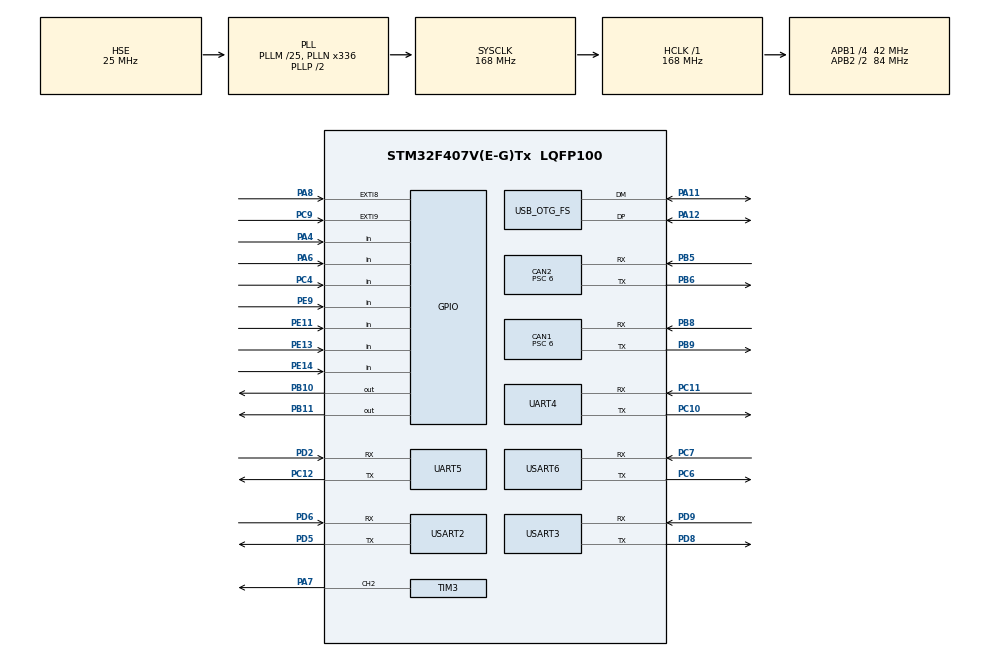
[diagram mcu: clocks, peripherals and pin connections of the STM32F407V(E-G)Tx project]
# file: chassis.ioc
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CAN1.BS1=CAN_BS1_3TQ
CAN1.BS2=CAN_BS2_3TQ
CAN1.CalculateBaudRate=1000000
CAN1.CalculateTimeBit=1000
CAN1.CalculateTimeQuantum=142.85714285714286
CAN1.Prescaler=6
CAN2.BS1=CAN_BS1_3TQ
CAN2.BS2=CAN_BS2_3TQ
CAN2.CalculateBaudRate=1000000
CAN2.CalculateTimeBit=1000
CAN2.CalculateTimeQuantum=142.85714285714286
CAN2.Mode=CAN_MODE_NORMAL
CAN2.Prescaler=6
Dma.Request0=UART4_RX
Dma.Request1=UART4_TX
Dma.Request2=USART3_RX
Dma.Request3=USART3_TX
Dma.Request4=USART2_TX
Dma.Request5=USART2_RX
Dma.Request6=USART6_RX
Dma.Request7=USART6_TX
Dma.Request8=UART5_RX
Dma.Request9=UART5_TX
Dma.UART4_RX.0.Direction=DMA_PERIPH_TO_MEMORY
Dma.UART4_RX.0.FIFOMode=DMA_FIFOMODE_DISABLE
Dma.UART4_RX.0.Instance=DMA1_Stream2
Dma.UART4_RX.0.MemDataAlignment=DMA_MDATAALIGN_BYTE
Dma.UART4_RX.0.MemInc=DMA_MINC_ENABLE
Dma.UART4_RX.0.Mode=DMA_NORMAL
Dma.UART4_RX.0.PeriphDataAlignment=DMA_PDATAALIGN_BYTE
Dma.UART4_RX.0.PeriphInc=DMA_PINC_DISABLE
Dma.UART4_RX.0.Priority=DMA_PRIORITY_LOW
Dma.UART4_TX.1.Direction=DMA_MEMORY_TO_PERIPH
Dma.UART4_TX.1.FIFOMode=DMA_FIFOMODE_DISABLE
Dma.UART4_TX.1.Instance=DMA1_Stream4
Dma.UART4_TX.1.MemDataAlignment=DMA_MDATAALIGN_BYTE
Dma.UART4_TX.1.MemInc=DMA_MINC_ENABLE
Dma.UART4_TX.1.Mode=DMA_NORMAL
Dma.UART4_TX.1.PeriphDataAlignment=DMA_PDATAALIGN_BYTE
Dma.UART4_TX.1.PeriphInc=DMA_PINC_DISABLE
Dma.UART4_TX.1.Priority=DMA_PRIORITY_LOW
Dma.UART5_RX.8.Direction=DMA_PERIPH_TO_MEMORY
Dma.UART5_RX.8.FIFOMode=DMA_FIFOMODE_DISABLE
Dma.UART5_RX.8.Instance=DMA1_Stream0
Dma.UART5_RX.8.MemDataAlignment=DMA_MDATAALIGN_BYTE
Dma.UART5_RX.8.MemInc=DMA_MINC_ENABLE
Dma.UART5_RX.8.Mode=DMA_NORMAL
Dma.UART5_RX.8.PeriphDataAlignment=DMA_PDATAALIGN_BYTE
Dma.UART5_RX.8.PeriphInc=DMA_PINC_DISABLE
Dma.UART5_RX.8.Priority=DMA_PRIORITY_LOW
Dma.UART5_TX.9.Direction=DMA_MEMORY_TO_PERIPH
Dma.UART5_TX.9.FIFOMode=DMA_FIFOMODE_DISABLE
Dma.UART5_TX.9.Instance=DMA1_Stream7
Dma.UART5_TX.9.MemDataAlignment=DMA_MDATAALIGN_BYTE
Dma.UART5_TX.9.MemInc=DMA_MINC_ENABLE
Dma.UART5_TX.9.Mode=DMA_NORMAL
Dma.UART5_TX.9.PeriphDataAlignment=DMA_PDATAALIGN_BYTE
Dma.UART5_TX.9.PeriphInc=DMA_PINC_DISABLE
Dma.UART5_TX.9.Priority=DMA_PRIORITY_LOW
Dma.USART2_RX.5.Direction=DMA_PERIPH_TO_MEMORY
Dma.USART2_RX.5.FIFOMode=DMA_FIFOMODE_DISABLE
Dma.USART2_RX.5.Instance=DMA1_Stream5
Dma.USART2_RX.5.MemDataAlignment=DMA_MDATAALIGN_BYTE
Dma.USART2_RX.5.MemInc=DMA_MINC_ENABLE
Dma.USART2_RX.5.Mode=DMA_NORMAL
Dma.USART2_RX.5.PeriphDataAlignment=DMA_PDATAALIGN_BYTE
Dma.USART2_RX.5.PeriphInc=DMA_PINC_DISABLE
Dma.USART2_RX.5.Priority=DMA_PRIORITY_LOW
Dma.USART2_TX.4.Direction=DMA_MEMORY_TO_PERIPH
Dma.USART2_TX.4.FIFOMode=DMA_FIFOMODE_DISABLE
Dma.USART2_TX.4.Instance=DMA1_Stream6
Dma.USART2_TX.4.MemDataAlignment=DMA_MDATAALIGN_BYTE
Dma.USART2_TX.4.MemInc=DMA_MINC_ENABLE
Dma.USART2_TX.4.Mode=DMA_NORMAL
Dma.USART2_TX.4.PeriphDataAlignment=DMA_PDATAALIGN_BYTE
Dma.USART2_TX.4.PeriphInc=DMA_PINC_DISABLE
Dma.USART2_TX.4.Priority=DMA_PRIORITY_LOW
Dma.USART3_RX.2.Direction=DMA_PERIPH_TO_MEMORY
Dma.USART3_RX.2.FIFOMode=DMA_FIFOMODE_DISABLE
Dma.USART3_RX.2.Instance=DMA1_Stream1
Dma.USART3_RX.2.MemDataAlignment=DMA_MDATAALIGN_BYTE
Dma.USART3_RX.2.MemInc=DMA_MINC_ENABLE
Dma.USART3_RX.2.Mode=DMA_NORMAL
Dma.USART3_RX.2.PeriphDataAlignment=DMA_PDATAALIGN_BYTE
Dma.USART3_RX.2.PeriphInc=DMA_PINC_DISABLE
Dma.USART3_RX.2.Priority=DMA_PRIORITY_LOW
Dma.USART3_TX.3.Direction=DMA_MEMORY_TO_PERIPH
Dma.USART3_TX.3.FIFOMode=DMA_FIFOMODE_DISABLE
Dma.USART3_TX.3.Instance=DMA1_Stream3
Dma.USART3_TX.3.MemDataAlignment=DMA_MDATAALIGN_BYTE
Dma.USART3_TX.3.MemInc=DMA_MINC_ENABLE
Dma.USART3_TX.3.Mode=DMA_NORMAL
Dma.USART3_TX.3.PeriphDataAlignment=DMA_PDATAALIGN_BYTE
Dma.USART3_TX.3.PeriphInc=DMA_PINC_DISABLE
Dma.USART3_TX.3.Priority=DMA_PRIORITY_LOW
Dma.USART6_RX.6.Direction=DMA_PERIPH_TO_MEMORY
Dma.USART6_RX.6.FIFOMode=DMA_FIFOMODE_DISABLE
Dma.USART6_RX.6.Instance=DMA2_Stream1
Dma.USART6_RX.6.MemDataAlignment=DMA_MDATAALIGN_BYTE
Dma.USART6_RX.6.MemInc=DMA_MINC_ENABLE
Dma.USART6_RX.6.Mode=DMA_NORMAL
Dma.USART6_RX.6.PeriphDataAlignment=DMA_PDATAALIGN_BYTE
Dma.USART6_RX.6.PeriphInc=DMA_PINC_DISABLE
Dma.USART6_RX.6.Priority=DMA_PRIORITY_LOW
Dma.USART6_TX.7.Direction=DMA_MEMORY_TO_PERIPH
Dma.USART6_TX.7.FIFOMode=DMA_FIFOMODE_DISABLE
Dma.USART6_TX.7.Instance=DMA2_Stream6
Dma.USART6_TX.7.MemDataAlignment=DMA_MDATAALIGN_BYTE
Dma.USART6_TX.7.MemInc=DMA_MINC_ENABLE
Dma.USART6_TX.7.Mode=DMA_NORMAL
Dma.USART6_TX.7.PeriphDataAlignment=DMA_PDATAALIGN_BYTE
Dma.USART6_TX.7.PeriphInc=DMA_PINC_DISABLE
Dma.USART6_TX.7.Priority=DMA_PRIORITY_LOW
FREERTOS.INCLUDE_uxTaskGetStackHighWaterMark=1
FREERTOS.INCLUDE_vTaskDelayUntil=1
FREERTOS.Tasks01=defaultTask,24,128,StartDefaultTask,Default,NULL,Dynamic,NULL,NULL
FREERTOS.configTOTAL_HEAP_SIZE=40960
FREERTOS.configUSE_TIMERS=1
Mcu.Family=STM32F4
Mcu.Name=STM32F407V(E-G)Tx
Mcu.Package=LQFP100
NVIC.CAN1_RX0_IRQn=true\:5\:0\:false\:false\:true\:true\:true\:true\:true
NVIC.CAN1_TX_IRQn=true\:5\:0\:false\:false\:true\:true\:true\:true\:true
NVIC.CAN2_RX1_IRQn=true\:5\:0\:false\:false\:true\:true\:true\:true\:true
NVIC.CAN2_TX_IRQn=true\:5\:0\:false\:false\:true\:true\:true\:true\:true
NVIC.DMA1_Stream0_IRQn=true\:5\:0\:false\:false\:true\:true\:false\:true\:true
NVIC.DMA1_Stream1_IRQn=true\:5\:0\:false\:false\:true\:true\:false\:true\:true
NVIC.DMA1_Stream2_IRQn=true\:5\:0\:false\:false\:true\:true\:false\:true\:true
NVIC.DMA1_Stream3_IRQn=true\:5\:0\:false\:false\:true\:true\:false\:true\:true
NVIC.DMA1_Stream4_IRQn=true\:5\:0\:false\:false\:true\:true\:false\:true\:true
NVIC.DMA1_Stream5_IRQn=true\:5\:0\:false\:false\:true\:true\:false\:true\:true
NVIC.DMA1_Stream6_IRQn=true\:5\:0\:false\:false\:true\:true\:false\:true\:true
NVIC.DMA1_Stream7_IRQn=true\:5\:0\:false\:false\:true\:true\:false\:true\:true
NVIC.DMA2_Stream1_IRQn=true\:5\:0\:false\:false\:true\:true\:false\:true\:true
NVIC.DMA2_Stream6_IRQn=true\:5\:0\:false\:false\:true\:true\:false\:true\:true
NVIC.EXTI9_5_IRQn=true\:5\:0\:false\:false\:true\:true\:true\:true\:true
NVIC.OTG_FS_IRQn=true\:5\:0\:false\:false\:true\:true\:false\:true\:true
NVIC.PriorityGroup=NVIC_PRIORITYGROUP_4
NVIC.TIM8_TRG_COM_TIM14_IRQn=true\:15\:0\:false\:false\:true\:false\:true\:true\:true
NVIC.TimeBase=TIM8_TRG_COM_TIM14_IRQn
NVIC.TimeBaseIP=TIM14
NVIC.UART4_IRQn=true\:5\:0\:false\:false\:true\:true\:true\:true\:true
NVIC.UART5_IRQn=true\:5\:0\:false\:false\:true\:true\:true\:true\:true
NVIC.USART2_IRQn=true\:5\:0\:false\:false\:true\:true\:true\:true\:true
NVIC.USART3_IRQn=true\:5\:0\:false\:false\:true\:true\:true\:true\:true
NVIC.USART6_IRQn=true\:5\:0\:false\:false\:true\:true\:true\:true\:true
PA11.Mode=Device_Only
PA11.Signal=USB_OTG_FS_DM
PA12.Mode=Device_Only
PA12.Signal=USB_OTG_FS_DP
PA13.Mode=Serial_Wire
PA13.Signal=SYS_JTMS-SWDIO
PA14.Mode=Serial_Wire
PA14.Signal=SYS_JTCK-SWCLK
PA4.GPIO_PuPd=GPIO_PULLDOWN
PA4.Signal=GPIO_Input
PA6.GPIO_PuPd=GPIO_PULLDOWN
PA6.Signal=GPIO_Input
PA7.Signal=S_TIM3_CH2
PA8.GPIO_ModeDefaultEXTI=GPIO_MODE_IT_RISING_FALLING
PA8.GPIO_PuPd=GPIO_PULLDOWN
PA8.Signal=GPXTI8
PB10.GPIO_ModeDefaultOutputPP=GPIO_MODE_OUTPUT_PP
PB10.GPIO_PuPd=GPIO_PULLUP
PB10.Signal=GPIO_Output
PB11.GPIO_PuPd=GPIO_PULLUP
PB11.Signal=GPIO_Output
PB5.Mode=CAN_Activate
PB5.Signal=CAN2_RX
PB6.Mode=CAN_Activate
PB6.Signal=CAN2_TX
PB8.Mode=CAN_Activate
PB8.Signal=CAN1_RX
PB9.Mode=CAN_Activate
PB9.Signal=CAN1_TX
PC10.Mode=Asynchronous
PC10.Signal=UART4_TX
PC11.Mode=Asynchronous
PC11.Signal=UART4_RX
PC12.Mode=Asynchronous
PC12.Signal=UART5_TX
PC4.GPIO_PuPd=GPIO_PULLDOWN
PC4.Signal=GPIO_Input
PC6.Mode=Asynchronous
PC6.Signal=USART6_TX
PC7.Mode=Asynchronous
PC7.Signal=USART6_RX
PC9.GPIO_ModeDefaultEXTI=GPIO_MODE_IT_RISING_FALLING
PC9.GPIO_PuPd=GPIO_PULLDOWN
PC9.Signal=GPXTI9
PD2.Mode=Asynchronous
PD2.Signal=UART5_RX
PD5.Mode=Asynchronous
PD5.Signal=USART2_TX
PD6.Mode=Asynchronous
PD6.Signal=USART2_RX
PD8.Mode=Asynchronous
PD8.Signal=USART3_TX
PD9.Mode=Asynchronous
PD9.Signal=USART3_RX
PE11.GPIO_PuPd=GPIO_PULLDOWN
PE11.Signal=GPIO_Input
PE13.GPIO_PuPd=GPIO_PULLDOWN
PE13.Signal=GPIO_Input
PE14.GPIO_PuPd=GPIO_PULLDOWN
PE14.Signal=GPIO_Input
PE9.GPIO_PuPd=GPIO_PULLDOWN
PE9.Signal=GPIO_Input
PH0-OSC_IN.Mode=HSE-External-Oscillator
PH0-OSC_IN.Signal=RCC_OSC_IN
PH1-OSC_OUT.Mode=HSE-External-Oscillator
PH1-OSC_OUT.Signal=RCC_OSC_OUT
ProjectManager.HeapSize=0x1000
ProjectManager.StackSize=0x400
ProjectManager.TargetToolchain=MDK-ARM V5
RCC.48MHZClocksFreq_Value=48000000
RCC.AHBFreq_Value=168000000
RCC.APB1CLKDivider=RCC_HCLK_DIV4
RCC.APB1Freq_Value=42000000
RCC.APB1TimFreq_Value=84000000
RCC.APB2CLKDivider=RCC_HCLK_DIV2
RCC.APB2Freq_Value=84000000
RCC.APB2TimFreq_Value=168000000
RCC.CortexFreq_Value=168000000
RCC.HCLKFreq_Value=168000000
RCC.HSE_VALUE=25000000
RCC.HSI_VALUE=16000000
RCC.LSE_VALUE=32768
RCC.PLLM=25
RCC.PLLN=336
RCC.PLLQ=7
RCC.SYSCLKFreq_VALUE=168000000
RCC.SYSCLKSource=RCC_SYSCLKSOURCE_PLLCLK
RCC.VCOOutputFreq_Value=336000000
SH.S_TIM3_CH2.0=TIM3_CH2,PWM Generation2 CH2
STMicroelectronics.X-CUBE-ALGOBUILD.1.4.0.LibraryCcDSPOoLibraryJjDSPOoLibrary=true
TIM3.Channel-PWM\ Generation2\ CH2=TIM_CHANNEL_2
TIM3.Period=20000-1
TIM3.Prescaler=83
UART4.VirtualMode=Asynchronous
UART5.VirtualMode=Asynchronous
USART2.VirtualMode=VM_ASYNC
USART3.VirtualMode=VM_ASYNC
USART6.VirtualMode=VM_ASYNC
USB_DEVICE.CLASS_NAME_FS=CDC
USB_DEVICE.VirtualMode-CDC_FS=Cdc
USB_DEVICE.VirtualModeFS=Cdc_FS
USB_OTG_FS.VirtualMode=Device_Only
VP_FREERTOS_VS_CMSIS_V2.Mode=CMSIS_V2
VP_STMicroelectronics.X-CUBE-ALGOBUILD_VS_DSPOoLibraryJjLibrary_1.4.0_1.4.0.Mode=DSPOoLibraryJjLibrary
VP_SYS_VS_tim14.Mode=TIM14
VP_USB_DEVICE_VS_USB_DEVICE_CDC_FS.Mode=CDC_FS
board=custom

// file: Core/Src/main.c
/* USER CODE BEGIN Header */
/**
  ******************************************************************************
  * @file           : main.c
  * @brief          : Main program body
  ******************************************************************************
  * @attention
  *
  * Copyright (c) 2024 STMicroelectronics.
  * All rights reserved.
  *
  * This software is licensed under terms that can be found in the LICENSE file
  * in the root directory of this software component.
  * If no LICENSE file comes with this software, it is provided AS-IS.
  *
  ******************************************************************************
  */
/* USER CODE END Header */
#include "main.h"
#include "cmsis_os.h"
#include "can.h"
#include "dma.h"
#include "tim.h"
#include "usart.h"
#include "usb_device.h"
#include "gpio.h"

/* USER CODE BEGIN Includes */
#include "RMLibHead.h"
#include "CANDrive.h"
#include "encoder.h"
#include "Task_Init.h"
/* USER CODE END Includes */

void SystemClock_Config(void);
void MX_FREERTOS_Init(void);

int main(void)
{

  /* MCU Configuration--------------------------------------------------------*/

  /* Reset of all peripherals, Initializes the Flash interface and the Systick. */
  HAL_Init();

  /* Configure the system clock */
  SystemClock_Config();

  /* Initialize all configured peripherals */
  MX_GPIO_Init();
  MX_DMA_Init();
  MX_CAN1_Init();
  MX_CAN2_Init();
  MX_UART4_Init();
  MX_UART5_Init();
  MX_USART3_UART_Init();
  MX_USART2_UART_Init();
  MX_USART6_UART_Init();
  MX_TIM3_Init();
  /* USER CODE BEGIN 2 */
	MX_USB_DEVICE_Init();
	CanFilter_Init(&hcan1);
	CanFilter_Init(&hcan2);
	HAL_CAN_Start(&hcan1);
	HAL_CAN_Start(&hcan2);
	HAL_CAN_ActivateNotification(&hcan1,CAN_IT_RX_FIFO0_MSG_PENDING);
	HAL_CAN_ActivateNotification(&hcan2,CAN_IT_RX_FIFO1_MSG_PENDING);

	HAL_TIM_PWM_Start(&htim3,TIM_CHANNEL_2);
	__HAL_TIM_SET_COMPARE(&htim3, TIM_CHANNEL_2,0);

  /* USER CODE END 2 */

  /* Init scheduler */
  osKernelInitialize();  /* Call init function for freertos objects (in cmsis_os2.c) */
  MX_FREERTOS_Init();

  /* Start scheduler */
  osKernelStart();

  /* We should never get here as control is now taken by the scheduler */

  /* Infinite loop */
  while (1)
  {

  }
}

void SystemClock_Config(void)
{
  RCC_OscInitTypeDef RCC_OscInitStruct = {0};
  RCC_ClkInitTypeDef RCC_ClkInitStruct = {0};

  /** Configure the main internal regulator output voltage
  */
  __HAL_RCC_PWR_CLK_ENABLE();
  __HAL_PWR_VOLTAGESCALING_CONFIG(PWR_REGULATOR_VOLTAGE_SCALE1);

  /** Initializes the RCC Oscillators according to the specified parameters
  * in the RCC_OscInitTypeDef structure.
  */
  RCC_OscInitStruct.OscillatorType = RCC_OSCILLATORTYPE_HSE;
  RCC_OscInitStruct.HSEState = RCC_HSE_ON;
  RCC_OscInitStruct.PLL.PLLState = RCC_PLL_ON;
  RCC_OscInitStruct.PLL.PLLSource = RCC_PLLSOURCE_HSE;
  RCC_OscInitStruct.PLL.PLLM = 25;
  RCC_OscInitStruct.PLL.PLLN = 336;
  RCC_OscInitStruct.PLL.PLLP = RCC_PLLP_DIV2;
  RCC_OscInitStruct.PLL.PLLQ = 7;
  if (HAL_RCC_OscConfig(&RCC_OscInitStruct) != HAL_OK)
  {
    Error_Handler();
  }

  /** Initializes the CPU, AHB and APB buses clocks
  */
  RCC_ClkInitStruct.ClockType = RCC_CLOCKTYPE_HCLK|RCC_CLOCKTYPE_SYSCLK
                              |RCC_CLOCKTYPE_PCLK1|RCC_CLOCKTYPE_PCLK2;
  RCC_ClkInitStruct.SYSCLKSource = RCC_SYSCLKSOURCE_PLLCLK;
  RCC_ClkInitStruct.AHBCLKDivider = RCC_SYSCLK_DIV1;
  RCC_ClkInitStruct.APB1CLKDivider = RCC_HCLK_DIV4;
  RCC_ClkInitStruct.APB2CLKDivider = RCC_HCLK_DIV2;

  if (HAL_RCC_ClockConfig(&RCC_ClkInitStruct, FLASH_LATENCY_5) != HAL_OK)
  {
    Error_Handler();
  }
}

void HAL_TIM_PeriodElapsedCallback(TIM_HandleTypeDef *htim)
{
  if (htim->Instance == TIM14)
  {
    HAL_IncTick();
  }
}

void Error_Handler(void)
{
  __disable_irq();
  while (1)
  {
  }
}

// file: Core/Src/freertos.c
/* USER CODE BEGIN Header */
/**
  ******************************************************************************
  * File Name          : freertos.c
  * Description        : Code for freertos applications
  ******************************************************************************
  * @attention
  *
  * Copyright (c) 2024 STMicroelectronics.
  * All rights reserved.
  *
  * This software is licensed under terms that can be found in the LICENSE file
  * in the root directory of this software component.
  * If no LICENSE file comes with this software, it is provided AS-IS.
  *
  ******************************************************************************
  */
/* USER CODE END Header */

#include "FreeRTOS.h"
#include "task.h"
#include "main.h"
#include "cmsis_os.h"

/* USER CODE BEGIN Includes */
#include "Task_Init.h"
#include "semphr.h"
#include "comm_stm32_hal_middle.h"
/* USER CODE END Includes */

/* USER CODE BEGIN PD */
SemaphoreHandle_t Remote_semaphore;

SemaphoreHandle_t Radar_semaphore;

uint16_t _stack[12] = {0};
extern TaskHandle_t Remote_Analysis_Handle;
extern TaskHandle_t Uart_Tx_Handle;
extern TaskHandle_t task_handle;
extern TaskHandle_t SendDataPackTask_handle;
extern TaskHandle_t ReceiveDataPackTask_handle;
extern TaskHandle_t ACKTimeoutCheckTask_handle;
extern CommHandle_t *g_comm_handle;
extern TaskHandle_t Auto_Navigatoin_Handle;
extern TaskHandle_t Radar_Handle;
extern TaskHandle_t Arm_Task_Handle;
extern TaskHandle_t Action_Handle;

/* USER CODE END PD */

/* Definitions for defaultTask */
osThreadId_t defaultTaskHandle;
const osThreadAttr_t defaultTask_attributes = {
  .name = "defaultTask",
  .stack_size = 128 * 4,
  .priority = (osPriority_t) osPriorityNormal,
};

void StartDefaultTask(void *argument);

extern void MX_USB_DEVICE_Init(void);
void MX_FREERTOS_Init(void); /* (MISRA C 2004 rule 8.1) */

void MX_FREERTOS_Init(void) {

  /* USER CODE BEGIN RTOS_QUEUES */
  /* add queues, ... */
  Remote_semaphore = xSemaphoreCreateBinary();
	Radar_semaphore = xSemaphoreCreateBinary();
  /* USER CODE END RTOS_QUEUES */

  /* Create the thread(s) */
  /* creation of defaultTask */
  defaultTaskHandle = osThreadNew(StartDefaultTask, NULL, &defaultTask_attributes);

}

void StartDefaultTask(void *argument)
{
  /* init code for USB_DEVICE */
  MX_USB_DEVICE_Init();
  /* USER CODE BEGIN StartDefaultTask */
	Task_Init();
  /* Infinite loop */
  for(;;)
  {
		_stack[0]=uxTaskGetStackHighWaterMark(Uart_Tx_Handle);
		_stack[1]=uxTaskGetStackHighWaterMark(task_handle);
		_stack[2]=uxTaskGetStackHighWaterMark(SendDataPackTask_handle);
		_stack[3]=uxTaskGetStackHighWaterMark(ReceiveDataPackTask_handle);
		_stack[4]=uxTaskGetStackHighWaterMark(ACKTimeoutCheckTask_handle);
		_stack[5]=uxTaskGetStackHighWaterMark(defaultTaskHandle);
		_stack[6]=uxTaskGetStackHighWaterMark(g_comm_handle->tx_task_handle);
		_stack[7]=uxTaskGetStackHighWaterMark(Remote_Analysis_Handle);
		_stack[8]=uxTaskGetStackHighWaterMark(Auto_Navigatoin_Handle);
		_stack[9]=uxTaskGetStackHighWaterMark(Radar_Handle);
		_stack[10]=uxTaskGetStackHighWaterMark(Arm_Task_Handle);
		_stack[11]=uxTaskGetStackHighWaterMark(Action_Handle);

    osDelay(1000);
  }
  /* USER CODE END StartDefaultTask */
}
